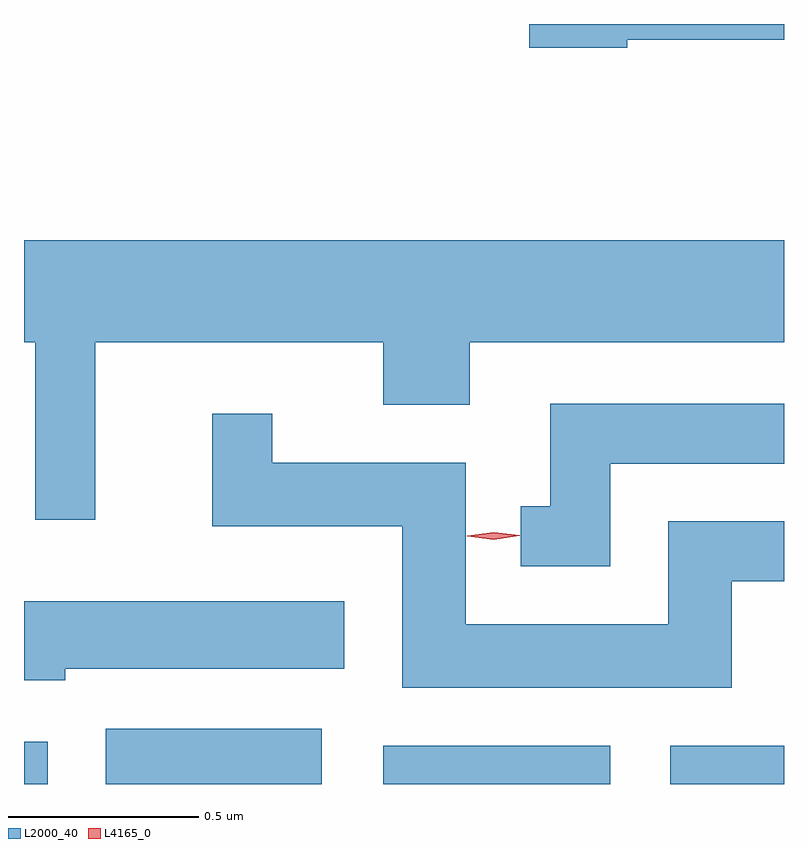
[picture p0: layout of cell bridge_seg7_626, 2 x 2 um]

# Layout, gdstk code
import gdstk
lib = gdstk.Library(unit=1e-6, precision=1e-09)
def R(c, l, rs):  # rectangles x0, y0, x1, y1
    for r in rs: c.add(gdstk.rectangle(r[:2], r[2:], *l))
def P(c, l, *ps):  # polygons
    for p in ps: c.add(gdstk.Polygon(p, *l))
L2000_40 = (2000, 40)
L4165_0 = (4165, 0)

bridge_seg7_626 = lib.new_cell('bridge_seg7_626')
R(bridge_seg7_626, L2000_40, [(798.536,1704.273,798.599,1704.384), (798.751,1704.273,799.319,1704.419), (799.481,1704.273,800.079,1704.374), (800.236,1704.273,800.536,1704.374)])
P(bridge_seg7_626, L2000_40, [(800.124,1706.231),(800.536,1706.231),(800.536,1706.273),(799.866,1706.273),(799.866,1706.211),(800.124,1706.211)],
  [(798.724,1705.436),(799.481,1705.436),(799.481,1705.271),(799.709,1705.271),(799.709,1705.436),(800.536,1705.436),(800.536,1705.704),(798.536,1705.704),(798.536,1705.436),(798.566,1705.436),(798.566,1704.968),(798.724,1704.968)],
  [(800.079,1705.116),(800.536,1705.116),(800.536,1705.274),(799.921,1705.274),(799.921,1705.004),(799.843,1705.004),(799.843,1704.846),(800.079,1704.846)],
  [(800.399,1704.806),(800.536,1704.806),(800.536,1704.964),(800.231,1704.964),(800.231,1704.694),(799.699,1704.694),(799.699,1705.119),(799.189,1705.119),(799.189,1705.248),(799.031,1705.248),(799.031,1704.951),(799.531,1704.951),(799.531,1704.526),(800.399,1704.526)],
  [(798.644,1704.576),(799.379,1704.576),(799.379,1704.754),(798.536,1704.754),(798.536,1704.546),(798.644,1704.546)])
P(bridge_seg7_626, L4165_0, [(799.772,1704.916),(799.702,1704.925),(799.702,1704.926),(799.702,1704.926),(799.772,1704.936),(799.841,1704.927),(799.841,1704.926),(799.841,1704.926)])

lib.write_gds('bridge_seg7_626.gds')
